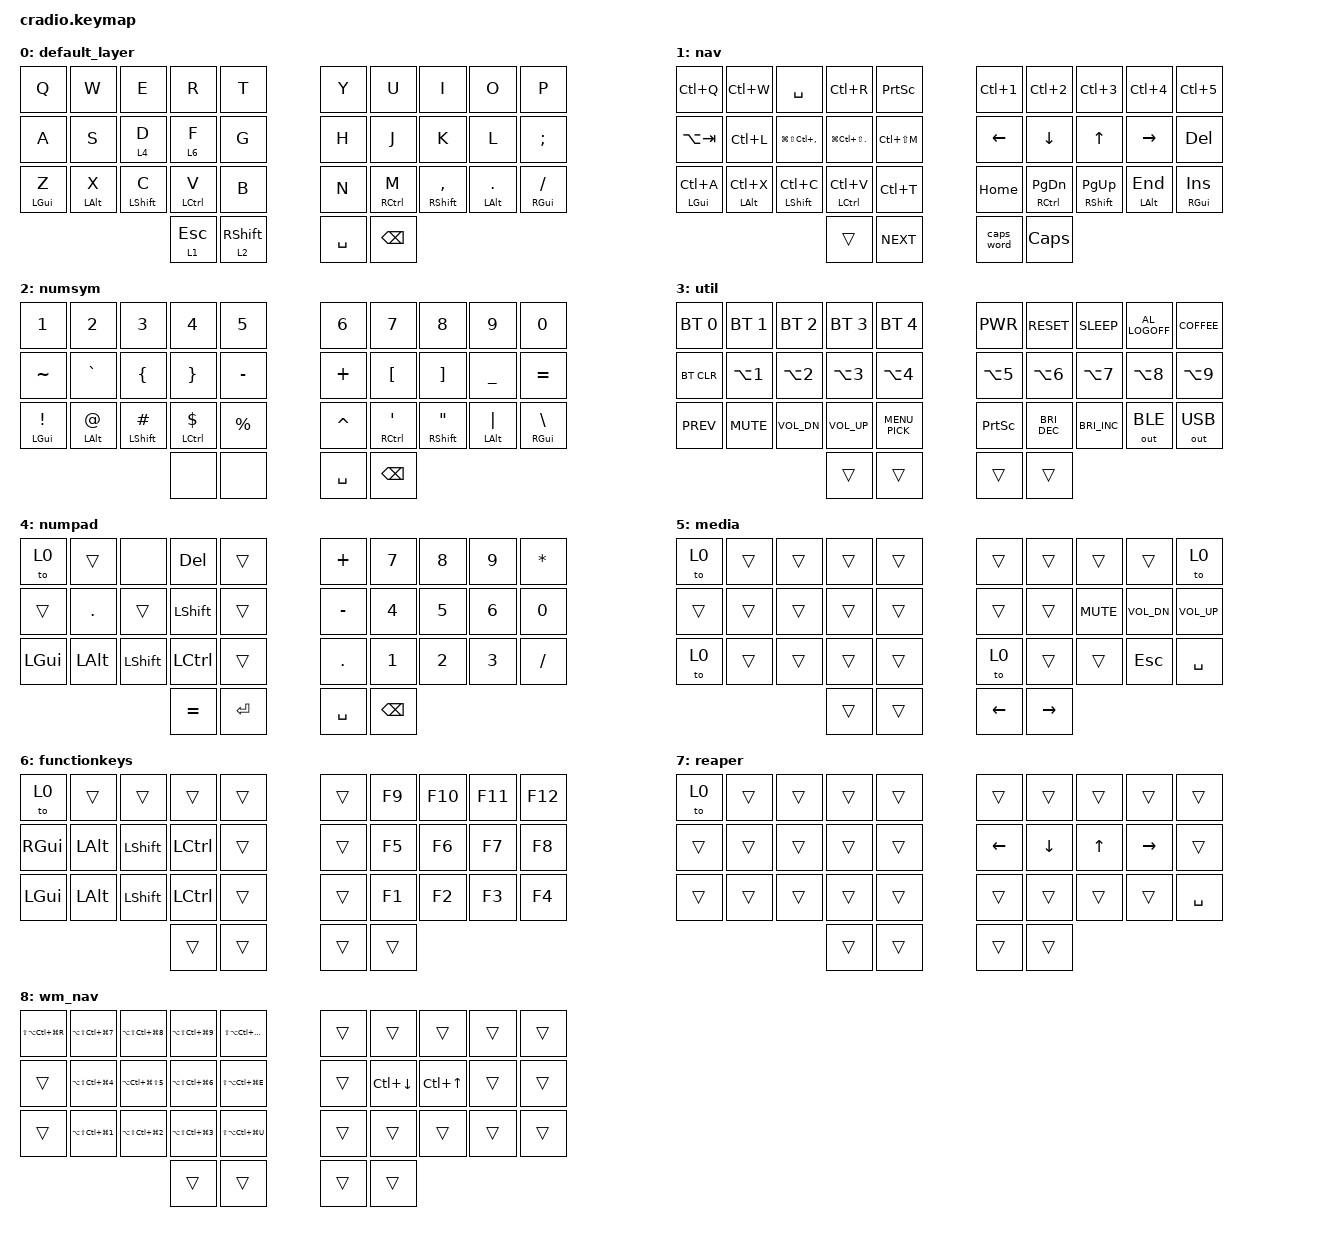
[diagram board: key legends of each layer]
// Copyright (c) 2022 The ZMK Contributors
// SPDX-License-Identifier: MIT

#include <behaviors.dtsi>
#include <dt-bindings/zmk/bt.h>
#include <dt-bindings/zmk/keys.h>
#include <dt-bindings/zmk/outputs.h>

&sk { quick-release; };

/ {
    behaviors {
        brml: brml {
            compatible = "zmk,behavior-hold-tap";
            label = "BRML";
            bindings = <&kp>, <&kp>;

            #binding-cells = <2>;
            tapping-term-ms = <170>;
            flavor = "tap-preferred";
            hold-trigger-key-positions = <5 6 7 8 9 15 16 17 18 19 25 26 27 28 29 32 33 31 30>;
            hold-trigger-on-release;
        };

        brmr: brmr {
            compatible = "zmk,behavior-hold-tap";
            label = "BRMR";
            bindings = <&kp>, <&kp>;

            #binding-cells = <2>;
            tapping-term-ms = <170>;
            flavor = "tap-preferred";
            hold-trigger-on-release;
            hold-trigger-key-positions = <0 1 2 3 4 10 11 12 13 14 20 21 22 23 24 30 31 32 33>;
        };

        stickyshiftmo: stickyshiftmo {
            compatible = "zmk,behavior-hold-tap";
            label = "STICKYSHIFTMO";
            bindings = <&mo>, <&sk>;

            #binding-cells = <2>;
            tapping-term-ms = <150>;
            flavor = "tap-preferred";
        };

        holdtap: holdtap {
            compatible = "zmk,behavior-hold-tap";
            label = "HOLDTAP";
            bindings = <&kp>, <&kp>;

            #binding-cells = <2>;
            tapping-term-ms = <200>;
            flavor = "tap-preferred";
        };

        molayers: molayers {
            compatible = "zmk,behavior-hold-tap";
            label = "MOLAYERS";
            bindings = <&mo>, <&kp>;

            #binding-cells = <2>;
            tapping-term-ms = <230>;
            quick-tap-ms = <170>;
            flavor = "tap-preferred";
        };
    };

    conditional_layers { compatible = "zmk,conditional-layers"; };

    combos {
        compatible = "zmk,combos";

        util {
            bindings = <&mo 3>;
            key-positions = <30 33>;
        };

        numpad {
            bindings = <&to 4>;
            key-positions = <19 25>;
            slow-release;
            layers = <0>;
        };

        media {
            bindings = <&to 5>;
            key-positions = <19 26>;
            slow-release;
            layers = <0>;
            timeout-ms = <50>;
        };

        reaper {
            bindings = <&to 7>;
            key-positions = <19 3>;
            timeout-ms = <50>;
            slow-release;
            layers = <0>;
        };

        tab {
            bindings = <&kp TAB>;
            key-positions = <13 12>;
            slow-release;
            timeout-ms = <50>;
            layers = <0>;
        };

        capsword {
            bindings = <&caps_word>;
            key-positions = <11 12 13>;
            timeout-ms = <50>;
            slow-release;
            layers = <0>;
        };

        enterHJ {
            bindings = <&kp ENTER>;
            key-positions = <16 15>;
            timeout-ms = <50>;
            slow-release;
            layers = <0>;
        };

        enter-numpad {
            bindings = <&kp ENTER>;
            key-positions = <16 15>;
            slow-release;
            layers = <4>;
            timeout-ms = <50>;
        };

        numpad-to-0 {
            bindings = <&to 0>;
            key-positions = <18 17>;
            slow-release;
            layers = <4>;
            timeout-ms = <50>;
        };

        lparen {
            bindings = <&kp LEFT_PARENTHESIS>;
            key-positions = <16 17>;
            layers = <2>;
            slow-release;
            timeout-ms = <50>;
        };

        rparen {
            bindings = <&kp RIGHT_PARENTHESIS>;
            key-positions = <17 18>;
            layers = <2>;
            slow-release;
            timeout-ms = <50>;
        };

        ampersand {
            bindings = <&kp AMPERSAND>;
            key-positions = <6 7>;
            slow-release;
            layers = <2>;
            timeout-ms = <50>;
        };

        star {
            bindings = <&kp ASTERISK>;
            key-positions = <7 8>;
            slow-release;
            layers = <2>;
            timeout-ms = <50>;
        };

        MissionControl {
            bindings = <&kp C_AC_DESKTOP_SHOW_ALL_WINDOWS>;
            key-positions = <8 7 6>;
            timeout-ms = <50>;
            slow-release;
            layers = <1>;
        };

        vdt6 {
            bindings = <&kp LC(N6)>;
            key-positions = <5 6>;
            layers = <1>;
            slow-release;
            timeout-ms = <50>;
        };

        vdt7 {
            bindings = <&kp LC(N7)>;
            key-positions = <6 7>;
            slow-release;
            timeout-ms = <50>;
            layers = <1>;
        };

        vdt8 {
            bindings = <&kp LC(N8)>;
            key-positions = <7 8>;
            slow-release;
            timeout-ms = <50>;
            layers = <1>;
        };

        nav_enter {
            bindings = <&kp ENTER>;
            key-positions = <12 13>;
            timeout-ms = <50>;
            slow-release;
            layers = <1>;
        };

        mac_undo {
            bindings = <&kp LG(Z)>;
            key-positions = <21 22>;
            timeout-ms = <50>;
            slow-release;
            layers = <1>;
        };

        cmd_backtick {
            bindings = <&kp LG(GRAVE)>;
            key-positions = <1 2>;
            timeout-ms = <50>;
            slow-release;
            layers = <1>;
        };

        mac_zoom_in {
            bindings = <&kp LG(EQUAL)>;
            key-positions = <2 3>;
            timeout-ms = <50>;
            slow-release;
            layers = <1>;
        };

        mac_zoom_out {
            bindings = <&kp LG(MINUS)>;
            key-positions = <22 23>;
            timeout-ms = <50>;
            slow-release;
            layers = <1>;
        };

        play_pause {
            bindings = <&kp C_PLAY_PAUSE>;
            key-positions = <12 11>;
            timeout-ms = <50>;
            slow-release;
            layers = <1>;
        };

        jump_prev_workspace {
            bindings = <&kp LA(D)>;
            key-positions = <14 13>;
            timeout-ms = <50>;
            slow-release;
            layers = <1>;
        };

        mac_ss {
            bindings = <&kp LS(LC(LG(N4)))>;
            key-positions = <3 4>;
            timeout-ms = <50>;
            slow-release;
            layers = <1>;
        };

        wm_nav {
            bindings = <&mo 8>;
            key-positions = <20 30>;
            layers = <0>;
        };
    };

    keymap {
        compatible = "zmk,keymap";

        default_layer {
            bindings = <
&kp Q             &kp W             &kp E               &kp R                 &kp T                           &kp Y      &kp U                  &kp I                    &kp O                  &kp P
&kp A             &kp S             &molayers 4 D       &molayers 6 F         &kp G                           &kp H      &kp J                  &kp K                    &kp L                  &kp SEMICOLON
&brml LEFT_GUI Z  &brml LEFT_ALT X  &brml LEFT_SHIFT C  &brml LEFT_CONTROL V  &kp B                           &kp N      &brmr RIGHT_CONTROL M  &brmr RIGHT_SHIFT COMMA  &brmr LEFT_ALT PERIOD  &brmr RIGHT_GUI SLASH
                                                        &lt 1 ESCAPE          &stickyshiftmo 2 RIGHT_SHIFT    &kp SPACE  &kp BACKSPACE
            >;
        };

        nav {
            bindings = <
&kp LC(Q)             &kp LC(W)         &kp SPACE               &kp LC(R)                 &kp PRINTSCREEN    &kp LC(NUMBER_1)  &kp LC(N2)                     &kp LC(N3)                 &kp LC(NUMBER_4)    &kp LC(N5)
&kp LA(TAB)           &kp LC(L)         &kp LG(LS(LC(COMMA)))   &kp LG(LC(LS(PERIOD)))    &kp LC(LS(M))      &kp LEFT          &kp DOWN                       &kp UP                     &kp RIGHT           &kp DELETE
&brml LEFT_GUI LC(A)  &brml LALT LC(X)  &brml LEFT_SHIFT LC(C)  &brml LEFT_CONTROL LC(V)  &kp LC(T)          &kp HOME          &brmr RIGHT_CONTROL PAGE_DOWN  &brmr RIGHT_SHIFT PAGE_UP  &brmr LEFT_ALT END  &brmr RIGHT_GUI INSERT
                                                                &trans                    &kp C_NEXT         &caps_word        &kp CAPS
            >;
        };

        numsym {
            bindings = <
&kp N1                      &kp N2             &kp N3                 &kp N4                     &kp N5         &kp N6     &kp N7                    &kp N8                           &kp N9               &kp N0
&kp TILDE                   &kp GRAVE          &kp LEFT_BRACE         &kp RIGHT_BRACE            &kp MINUS      &kp PLUS   &kp LBKT                  &kp RIGHT_BRACKET                &kp UNDERSCORE       &kp EQUAL
&brml LEFT_GUI EXCLAMATION  &brml LEFT_ALT AT  &brml LEFT_SHIFT HASH  &brml LEFT_CONTROL DOLLAR  &kp PERCENT    &kp CARET  &brmr RIGHT_CONTROL APOS  &brmr RIGHT_SHIFT DOUBLE_QUOTES  &brmr LEFT_ALT PIPE  &brmr RIGHT_GUI BACKSLASH
                                                                      &none                      &none          &kp SPACE  &kp BACKSPACE
            >;
        };

        util {
            bindings = <
&bt BT_SEL 0  &bt BT_SEL 1  &bt BT_SEL 2  &bt BT_SEL 3  &bt BT_SEL 4       &kp C_PWR        &kp C_RESET           &kp C_SLEEP           &kp C_AL_LOGOFF   &kp K_COFFEE
&bt BT_CLR    &kp LA(N1)    &kp LA(N2)    &kp LA(N3)    &kp LA(N4)         &kp LA(N5)       &kp LA(N6)            &kp LA(NUMBER_7)      &kp LA(NUMBER_8)  &kp LA(N9)
&kp C_PREV    &kp K_MUTE    &kp C_VOL_DN  &kp C_VOL_UP  &kp C_MENU_PICK    &kp PRINTSCREEN  &kp C_BRIGHTNESS_DEC  &kp C_BRIGHTNESS_INC  &out OUT_BLE      &out OUT_USB
                                          &trans        &trans             &trans           &trans
            >;
        };

        numpad {
            bindings = <
&to 0         &trans        &none           &kp DELETE        &trans       &kp PLUS    &kp N7         &kp N8  &kp N9  &kp ASTRK
&trans        &kp PERIOD    &trans          &kp LEFT_SHIFT    &trans       &kp MINUS   &kp N4         &kp N5  &kp N6  &kp N0
&kp LEFT_GUI  &kp LEFT_ALT  &kp LEFT_SHIFT  &kp LEFT_CONTROL  &trans       &kp PERIOD  &kp N1         &kp N2  &kp N3  &kp SLASH
                                            &kp EQUAL         &kp ENTER    &kp SPACE   &kp BACKSPACE
            >;
        };

        media {
            bindings = <
&to 0   &trans  &trans  &trans  &trans    &trans          &trans     &trans      &trans        &to 0
&trans  &trans  &trans  &trans  &trans    &trans          &trans     &kp K_MUTE  &kp C_VOL_DN  &kp C_VOLUME_UP
&to 0   &trans  &trans  &trans  &trans    &to 0           &trans     &trans      &kp ESCAPE    &kp SPACE
                        &trans  &trans    &kp LEFT_ARROW  &kp RIGHT
            >;
        };

        functionkeys {
            bindings = <
&to 0         &trans        &trans          &trans            &trans    &trans  &kp F9  &kp F10  &kp F11  &kp F12
&kp RGUI      &kp LALT      &kp LSHFT       &kp LCTRL         &trans    &trans  &kp F5  &kp F6   &kp F7   &kp F8
&kp LEFT_GUI  &kp LEFT_ALT  &kp LEFT_SHIFT  &kp LEFT_CONTROL  &trans    &trans  &kp F1  &kp F2   &kp F3   &kp F4
                                            &trans            &trans    &trans  &trans
            >;

            label = "functionkeys";
        };

        reaper {
            bindings = <
&to 0   &trans  &trans  &trans  &trans    &trans    &trans    &trans  &trans     &trans
&trans  &trans  &trans  &trans  &trans    &kp LEFT  &kp DOWN  &kp UP  &kp RIGHT  &trans
&trans  &trans  &trans  &trans  &trans    &trans    &trans    &trans  &trans     &kp SPACE
                        &trans  &trans    &trans    &trans
            >;
        };

        wm_nav {
            bindings = <
&kp LS(LA(LC(LG(R))))  &kp LA(LS(LC(LG(N7))))  &kp LA(LS(LC(LG(N8))))  &kp LA(LS(LC(LG(N9))))  &kp LS(LA(LC(LG(M))))    &trans  &trans        &trans      &trans  &trans
&trans                 &kp LA(LS(LC(LG(N4))))  &kp LA(LC(LG(LS(N5))))  &kp LA(LS(LC(LG(N6))))  &kp LS(LA(LC(LG(E))))    &trans  &kp LC(DOWN)  &kp LC(UP)  &trans  &trans
&trans                 &kp LA(LS(LC(LG(N1))))  &kp LA(LS(LC(LG(N2))))  &kp LA(LS(LC(LG(N3))))  &kp LS(LA(LC(LG(U))))    &trans  &trans        &trans      &trans  &trans
                                                                       &trans                  &trans                   &trans  &trans
            >;
        };
    };
};
